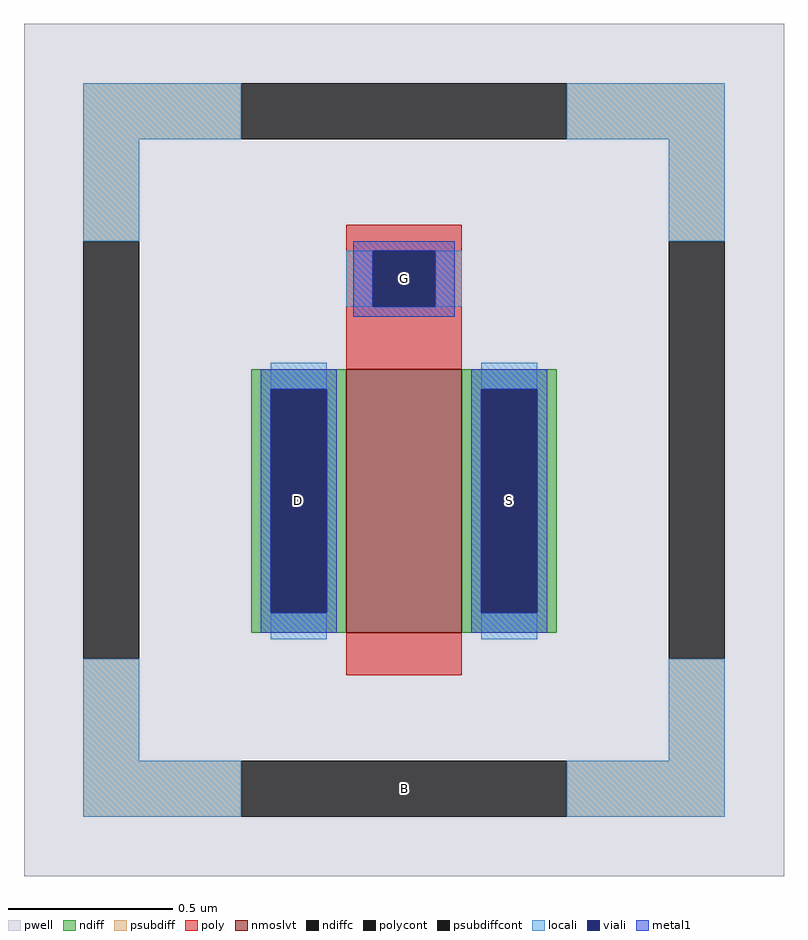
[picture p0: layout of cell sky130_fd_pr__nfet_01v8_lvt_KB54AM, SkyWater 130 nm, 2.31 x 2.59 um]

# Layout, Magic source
magic
tech sky130A
magscale 1 2
<< pwell >>
rect -231 -259 231 259
<< nmoslvt >>
rect -35 -111 35 49
<< ndiff >>
rect -93 37 -35 49
rect -93 -99 -81 37
rect -47 -99 -35 37
rect -93 -111 -35 -99
rect 35 37 93 49
rect 35 -99 47 37
rect 81 -99 93 37
rect 35 -111 93 -99
<< ndiffc >>
rect -81 -99 -47 37
rect 47 -99 81 37
<< psubdiff >>
rect -195 189 -99 223
rect 99 189 195 223
rect -195 127 -161 189
rect 161 127 195 189
rect -195 -189 -161 -127
rect 161 -189 195 -127
rect -195 -223 -99 -189
rect 99 -223 195 -189
<< psubdiffcont >>
rect -99 189 99 223
rect -195 -127 -161 127
rect 161 -127 195 127
rect -99 -223 99 -189
<< poly >>
rect -35 121 35 137
rect -35 87 -19 121
rect 19 87 35 121
rect -35 49 35 87
rect -35 -137 35 -111
<< polycont >>
rect -19 87 19 121
<< locali >>
rect -195 189 -99 223
rect 99 189 195 223
rect -195 127 -161 189
rect 161 127 195 189
rect -35 87 -19 121
rect 19 87 35 121
rect -81 37 -47 53
rect -81 -115 -47 -99
rect 47 37 81 53
rect 47 -115 81 -99
rect -195 -189 -161 -127
rect 161 -189 195 -127
rect -195 -223 -99 -189
rect 99 -223 195 -189
<< viali >>
rect -19 87 19 121
rect -81 -99 -47 37
rect 47 -99 81 37
<< metal1 >>
rect -31 121 31 127
rect -31 87 -19 121
rect 19 87 31 121
rect -31 81 31 87
rect -87 37 -41 49
rect -87 -99 -81 37
rect -47 -99 -41 37
rect -87 -111 -41 -99
rect 41 37 87 49
rect 41 -99 47 37
rect 81 -99 87 37
rect 41 -111 87 -99
<< labels >>
rlabel psubdiffcont 0 -206 0 -206 0 B
port 1 nsew
rlabel ndiffc -64 -31 -64 -31 0 D
port 2 nsew
rlabel ndiffc 64 -31 64 -31 0 S
port 3 nsew
rlabel polycont 0 104 0 104 0 G
port 4 nsew
<< properties >>
string FIXED_BBOX -178 -206 178 206
string gencell sky130_fd_pr__nfet_01v8_lvt
string library sky130
string parameters w 0.8 l 0.35 m 1 nf 1 diffcov 100 polycov 100 guard 1 glc 1 grc 1 gtc 1 gbc 1 tbcov 100 rlcov 100 topc 1 botc 0 poverlap 0 doverlap 1 lmin 0.15 wmin 0.42 class mosfet compatible {sky130_fd_pr__nfet_01v8 sky130_fd_pr__nfet_01v8_lvt  sky130_fd_bs_flash__special_sonosfet_star  sky130_fd_pr__nfet_g5v0d10v5 sky130_fd_pr__nfet_05v0_nvt  sky130_fd_pr__nfet_03v3_nvt} full_metal 1 conn_gates 0 viasrc 100 viadrn 100 viagate 100 viagb 0 viagr 0 viagl 0 viagt 0 doports 1
<< end >>
